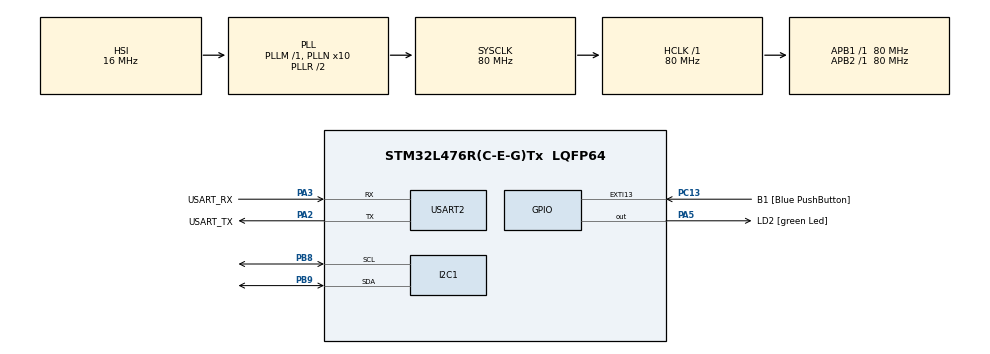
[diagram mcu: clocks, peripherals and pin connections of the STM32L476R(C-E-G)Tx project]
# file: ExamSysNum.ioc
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I2C1.Timing=0x10909CEC
Mcu.Family=STM32L4
Mcu.Name=STM32L476R(C-E-G)Tx
Mcu.Package=LQFP64
NVIC.PriorityGroup=NVIC_PRIORITYGROUP_4
PA13\ (JTMS-SWDIO).GPIO_Label=TMS
PA13\ (JTMS-SWDIO).Mode=Serial_Wire
PA13\ (JTMS-SWDIO).Signal=SYS_JTMS-SWDIO
PA14\ (JTCK-SWCLK).GPIO_Label=TCK
PA14\ (JTCK-SWCLK).Mode=Serial_Wire
PA14\ (JTCK-SWCLK).Signal=SYS_JTCK-SWCLK
PA2.GPIO_Label=USART_TX
PA2.GPIO_Mode=GPIO_MODE_AF_PP
PA2.GPIO_PuPd=GPIO_NOPULL
PA2.GPIO_Speed=GPIO_SPEED_FREQ_VERY_HIGH
PA2.Mode=Asynchronous
PA2.Signal=USART2_TX
PA3.GPIO_Label=USART_RX
PA3.GPIO_Mode=GPIO_MODE_AF_PP
PA3.GPIO_PuPd=GPIO_NOPULL
PA3.GPIO_Speed=GPIO_SPEED_FREQ_VERY_HIGH
PA3.Mode=Asynchronous
PA3.Signal=USART2_RX
PA5.GPIO_Label=LD2 [green Led]
PA5.GPIO_ModeDefaultOutputPP=GPIO_MODE_OUTPUT_PP
PA5.GPIO_PuPd=GPIO_NOPULL
PA5.GPIO_Speed=GPIO_SPEED_FREQ_LOW
PA5.Signal=GPIO_Output
PB3\ (JTDO-TRACESWO).GPIO_Label=SWO
PB3\ (JTDO-TRACESWO).Signal=SYS_JTDO-SWO
PB8.Mode=I2C
PB8.Signal=I2C1_SCL
PB9.Mode=I2C
PB9.Signal=I2C1_SDA
PC13.GPIO_Label=B1 [Blue PushButton]
PC13.GPIO_ModeDefaultEXTI=GPIO_MODE_IT_FALLING
PC13.GPIO_PuPd=GPIO_NOPULL
PC13.Signal=GPXTI13
PC14-OSC32_IN\ (PC14).Mode=LSE-External-Oscillator
PC14-OSC32_IN\ (PC14).Signal=RCC_OSC32_IN
PC15-OSC32_OUT\ (PC15).Mode=LSE-External-Oscillator
PC15-OSC32_OUT\ (PC15).Signal=RCC_OSC32_OUT
PH0-OSC_IN\ (PH0).Signal=RCC_OSC_IN
PH1-OSC_OUT\ (PH1).Signal=RCC_OSC_OUT
ProjectManager.HeapSize=0x200
ProjectManager.StackSize=0x400
ProjectManager.TargetToolchain=STM32CubeIDE
RCC.ADCFreq_Value=64000000
RCC.AHBFreq_Value=80000000
RCC.APB1Freq_Value=80000000
RCC.APB1TimFreq_Value=80000000
RCC.APB2Freq_Value=80000000
RCC.APB2TimFreq_Value=80000000
RCC.CortexFreq_Value=80000000
RCC.HCLKFreq_Value=80000000
RCC.HSE_VALUE=8000000
RCC.HSI_VALUE=16000000
RCC.MSI_VALUE=4000000
RCC.PLLN=10
RCC.PLLSourceVirtual=RCC_PLLSOURCE_HSI
RCC.PREFETCH_ENABLE=1
RCC.SYSCLKFreq_VALUE=80000000
RCC.SYSCLKSource=RCC_SYSCLKSOURCE_PLLCLK
RCC.USBFreq_Value=64000000
RCC.VCOOutputFreq_Value=160000000
USART2.VirtualMode-Asynchronous=VM_ASYNC
board=NUCLEO-L476RG

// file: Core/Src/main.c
/* USER CODE BEGIN Header */
/**
  ******************************************************************************
  * @file           : main.c
  * @brief          : Main program body
  ******************************************************************************
  * @attention
  *
  * Copyright (c) 2024 STMicroelectronics.
  * All rights reserved.
  *
  * This software is licensed under terms that can be found in the LICENSE file
  * in the root directory of this software component.
  * If no LICENSE file comes with this software, it is provided AS-IS.
  *
  ******************************************************************************
  */
/* USER CODE END Header */
#include "main.h"

/* USER CODE BEGIN PD */
#define UARTTxBuffer_SIZE 64
#define I2C_Address 0x48
#define TCN75S_TEMP_REG 0x00

/* USER CODE END PD */

I2C_HandleTypeDef hi2c1;

UART_HandleTypeDef huart2;

void SystemClock_Config(void);
static void MX_GPIO_Init(void);
static void MX_USART2_UART_Init(void);
static void MX_I2C1_Init(void);

/* USER CODE BEGIN 0 */
uint8_t i2cRawData;

uint8_t UartTxBuffer[UARTTxBuffer_SIZE];

/* USER CODE END 0 */

int main(void)
{
  /* USER CODE BEGIN 1 */
	uint16_t temperatureData=0;

  /* USER CODE END 1 */

  /* MCU Configuration--------------------------------------------------------*/

  /* Reset of all peripherals, Initializes the Flash interface and the Systick. */
  HAL_Init();

  /* Configure the system clock */
  SystemClock_Config();

  /* Initialize all configured peripherals */
  MX_GPIO_Init();
  MX_USART2_UART_Init();
  MX_I2C1_Init();
  /* USER CODE BEGIN 2 */
  //On ecrit un texte par defaut pour tester la liaison uart
  sprintf(UartTxBuffer,"Demo-board for sensor captor \r\n");
  HAL_UART_Transmit(&huart2, UartTxBuffer, strlen(UartTxBuffer), 0xFFFF);

  //On verifie que la communication est possible avec le capteur
  if(HAL_OK==HAL_I2C_IsDeviceReady(&hi2c1,I2C_Address << 1,5,1000))
  {
	  sprintf(UartTxBuffer,"Device is Ready \r\n");
	  HAL_UART_Transmit(&huart2, UartTxBuffer, strlen(UartTxBuffer), 0xFFFF);
  }
  else
  {
	  //Si le capteur n'est pas dispo on l'indique
	  sprintf(UartTxBuffer,"Device is not Ready \r\n");
	  HAL_UART_Transmit(&huart2, UartTxBuffer, strlen(UartTxBuffer), 0xFFFF);
	  while(1);

  }

  /* USER CODE END 2 */

  /* Infinite loop */
  while (1)
  {

	  //On fait une lecture du capteur sur le registre indiquant la temperature ambiante soit 0x00
	  if(HAL_I2C_Mem_Read(&hi2c1,I2C_Address<<1, TCN75S_TEMP_REG,1, &temperatureData, sizeof(temperatureData), 1000)==HAL_OK)
		{
		  //on l'affiche
	  sprintf(UartTxBuffer,"Raw temperature : %ld \r\n",temperatureData);
	  HAL_UART_Transmit(&huart2, UartTxBuffer, strlen(UartTxBuffer), 0xFFFF);

	  //Traitement de la valeur obtenu pour l'avoir en une valeur lisible
	  float temperature = (float)(temperatureData >> 4) * 0.0625f;

	  //on l'affiche
  sprintf(UartTxBuffer," temperature : %f \r\n",temperature);
  HAL_UART_Transmit(&huart2, UartTxBuffer, strlen(UartTxBuffer), 0xFFFF);
		}
	  else
	  {
		  //Si on arrive pas a lire la temperature on ecrit un message
		  sprintf(UartTxBuffer,"Could not get data \r\n");
		  HAL_UART_Transmit(&huart2, UartTxBuffer, strlen(UartTxBuffer), 0xFFFF);

	  }
	  HAL_Delay(1000);

  }
}

void SystemClock_Config(void)
{
  RCC_OscInitTypeDef RCC_OscInitStruct = {0};
  RCC_ClkInitTypeDef RCC_ClkInitStruct = {0};

  /** Configure the main internal regulator output voltage
  */
  if (HAL_PWREx_ControlVoltageScaling(PWR_REGULATOR_VOLTAGE_SCALE1) != HAL_OK)
  {
    Error_Handler();
  }

  /** Initializes the RCC Oscillators according to the specified parameters
  * in the RCC_OscInitTypeDef structure.
  */
  RCC_OscInitStruct.OscillatorType = RCC_OSCILLATORTYPE_HSI;
  RCC_OscInitStruct.HSIState = RCC_HSI_ON;
  RCC_OscInitStruct.HSICalibrationValue = RCC_HSICALIBRATION_DEFAULT;
  RCC_OscInitStruct.PLL.PLLState = RCC_PLL_ON;
  RCC_OscInitStruct.PLL.PLLSource = RCC_PLLSOURCE_HSI;
  RCC_OscInitStruct.PLL.PLLM = 1;
  RCC_OscInitStruct.PLL.PLLN = 10;
  RCC_OscInitStruct.PLL.PLLP = RCC_PLLP_DIV7;
  RCC_OscInitStruct.PLL.PLLQ = RCC_PLLQ_DIV2;
  RCC_OscInitStruct.PLL.PLLR = RCC_PLLR_DIV2;
  if (HAL_RCC_OscConfig(&RCC_OscInitStruct) != HAL_OK)
  {
    Error_Handler();
  }

  /** Initializes the CPU, AHB and APB buses clocks
  */
  RCC_ClkInitStruct.ClockType = RCC_CLOCKTYPE_HCLK|RCC_CLOCKTYPE_SYSCLK
                              |RCC_CLOCKTYPE_PCLK1|RCC_CLOCKTYPE_PCLK2;
  RCC_ClkInitStruct.SYSCLKSource = RCC_SYSCLKSOURCE_PLLCLK;
  RCC_ClkInitStruct.AHBCLKDivider = RCC_SYSCLK_DIV1;
  RCC_ClkInitStruct.APB1CLKDivider = RCC_HCLK_DIV1;
  RCC_ClkInitStruct.APB2CLKDivider = RCC_HCLK_DIV1;

  if (HAL_RCC_ClockConfig(&RCC_ClkInitStruct, FLASH_LATENCY_4) != HAL_OK)
  {
    Error_Handler();
  }
}

static void MX_I2C1_Init(void)
{

  hi2c1.Instance = I2C1;
  hi2c1.Init.Timing = 0x10909CEC;
  hi2c1.Init.OwnAddress1 = 0;
  hi2c1.Init.AddressingMode = I2C_ADDRESSINGMODE_7BIT;
  hi2c1.Init.DualAddressMode = I2C_DUALADDRESS_DISABLE;
  hi2c1.Init.OwnAddress2 = 0;
  hi2c1.Init.OwnAddress2Masks = I2C_OA2_NOMASK;
  hi2c1.Init.GeneralCallMode = I2C_GENERALCALL_DISABLE;
  hi2c1.Init.NoStretchMode = I2C_NOSTRETCH_DISABLE;
  if (HAL_I2C_Init(&hi2c1) != HAL_OK)
  {
    Error_Handler();
  }

  /** Configure Analogue filter
  */
  if (HAL_I2CEx_ConfigAnalogFilter(&hi2c1, I2C_ANALOGFILTER_ENABLE) != HAL_OK)
  {
    Error_Handler();
  }

  /** Configure Digital filter
  */
  if (HAL_I2CEx_ConfigDigitalFilter(&hi2c1, 0) != HAL_OK)
  {
    Error_Handler();
  }

}

static void MX_USART2_UART_Init(void)
{

  huart2.Instance = USART2;
  huart2.Init.BaudRate = 115200;
  huart2.Init.WordLength = UART_WORDLENGTH_8B;
  huart2.Init.StopBits = UART_STOPBITS_1;
  huart2.Init.Parity = UART_PARITY_NONE;
  huart2.Init.Mode = UART_MODE_TX_RX;
  huart2.Init.HwFlowCtl = UART_HWCONTROL_NONE;
  huart2.Init.OverSampling = UART_OVERSAMPLING_16;
  huart2.Init.OneBitSampling = UART_ONE_BIT_SAMPLE_DISABLE;
  huart2.AdvancedInit.AdvFeatureInit = UART_ADVFEATURE_NO_INIT;
  if (HAL_UART_Init(&huart2) != HAL_OK)
  {
    Error_Handler();
  }

}

static void MX_GPIO_Init(void)
{
  GPIO_InitTypeDef GPIO_InitStruct = {0};

  /* GPIO Ports Clock Enable */
  __HAL_RCC_GPIOC_CLK_ENABLE();
  __HAL_RCC_GPIOH_CLK_ENABLE();
  __HAL_RCC_GPIOA_CLK_ENABLE();
  __HAL_RCC_GPIOB_CLK_ENABLE();

  /*Configure GPIO pin Output Level */
  HAL_GPIO_WritePin(LD2_GPIO_Port, LD2_Pin, GPIO_PIN_RESET);

  /*Configure GPIO pin : B1_Pin */
  GPIO_InitStruct.Pin = B1_Pin;
  GPIO_InitStruct.Mode = GPIO_MODE_IT_FALLING;
  GPIO_InitStruct.Pull = GPIO_NOPULL;
  HAL_GPIO_Init(B1_GPIO_Port, &GPIO_InitStruct);

  /*Configure GPIO pin : LD2_Pin */
  GPIO_InitStruct.Pin = LD2_Pin;
  GPIO_InitStruct.Mode = GPIO_MODE_OUTPUT_PP;
  GPIO_InitStruct.Pull = GPIO_NOPULL;
  GPIO_InitStruct.Speed = GPIO_SPEED_FREQ_LOW;
  HAL_GPIO_Init(LD2_GPIO_Port, &GPIO_InitStruct);

}

void Error_Handler(void)
{
  __disable_irq();
  while (1)
  {
  }
}
